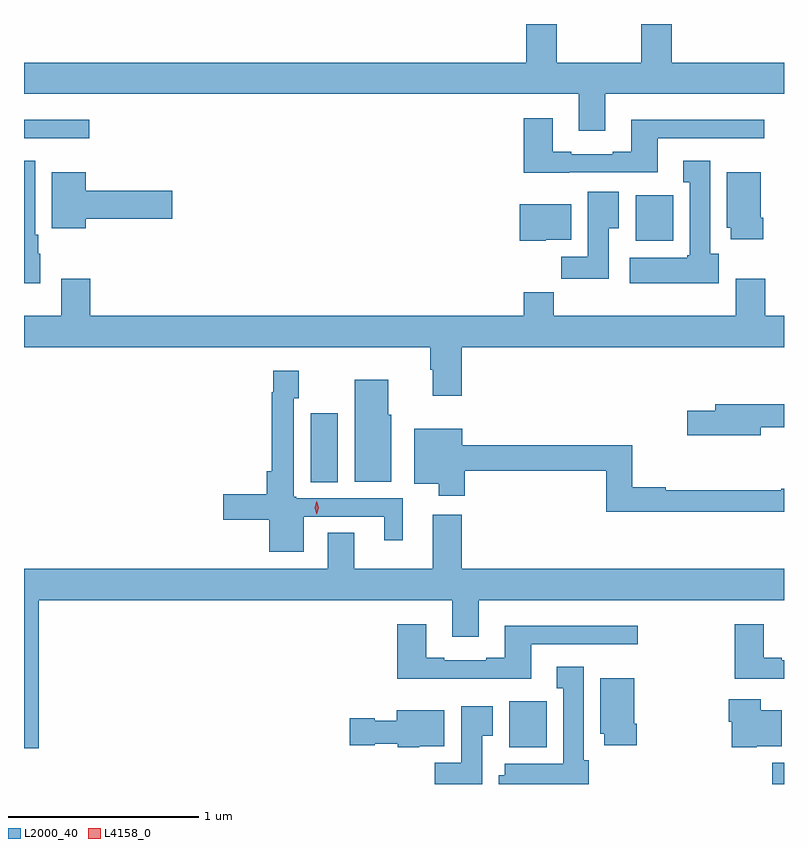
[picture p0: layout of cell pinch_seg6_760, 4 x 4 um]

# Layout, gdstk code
import gdstk
lib = gdstk.Library(unit=1e-6, precision=1e-09)
def R(c, l, rs):  # rectangles x0, y0, x1, y1
    for r in rs: c.add(gdstk.rectangle(r[:2], r[2:], *l))
def P(c, l, *ps):  # polygons
    for p in ps: c.add(gdstk.Polygon(p, *l))
L2000_40 = (2000, 40)
L4158_0 = (4158, 0)

pinch_seg6_760 = lib.new_cell('pinch_seg6_760')
R(pinch_seg6_760, L2000_40, [(315.856,955.692,315.918,955.804), (314.471,955.886,314.668,956.128), (313.427,957.28,313.57,957.643), (315.137,958.55,315.334,958.792), (311.918,959.091,312.262,959.188)])
P(pinch_seg6_760, L2000_40, [(315.918,959.488),(315.326,959.488),(315.326,959.692),(315.166,959.692),(315.166,959.488),(314.721,959.488),(314.721,959.692),(314.561,959.692),(314.561,959.488),(311.918,959.488),(311.918,959.324),(314.837,959.324),(314.837,959.13),(314.977,959.13),(314.977,959.324),(315.918,959.324)],
  [(314.789,958.911),(315.253,958.911),(315.253,959.091),(315.814,959.091),(315.814,959.188),(315.113,959.188),(315.113,959.02),(315.017,959.02),(315.017,959.007),(314.797,959.007),(314.797,959.02),(314.701,959.02),(314.701,959.197),(314.549,959.197),(314.549,958.91),(314.789,958.91)],
  [(315.574,958.482),(315.529,958.482),(315.529,958.972),(315.389,958.972),(315.389,958.859),(315.422,958.859),(315.422,958.476),(315.409,958.476),(315.409,958.462),(315.105,958.462),(315.105,958.328),(315.574,958.328)],
  [(312.004,958.482),(311.992,958.482),(311.992,958.582),(311.977,958.582),(311.977,958.972),(311.918,958.972),(311.918,958.328),(312.004,958.328)],
  [(312.244,958.667),(312.697,958.667),(312.697,958.814),(312.244,958.814),(312.244,958.912),(312.065,958.912),(312.065,958.616),(312.244,958.616)],
  [(315.809,958.672),(315.796,958.672),(315.796,958.912),(315.617,958.912),(315.617,958.62),(315.638,958.62),(315.638,958.56),(315.809,958.56)],
  [(314.995,958.616),(315.049,958.616),(315.049,958.81),(314.885,958.81),(314.885,958.468),(314.746,958.468),(314.746,958.35),(314.995,958.35)],
  [(314.664,958.556),(314.797,958.556),(314.797,958.744),(314.528,958.744),(314.528,958.55),(314.664,958.55)],
  [(314.222,957.992),(315.918,957.992),(315.918,958.156),(315.818,958.156),(315.818,958.351),(315.665,958.351),(315.665,958.156),(314.705,958.156),(314.705,958.28),(314.549,958.28),(314.549,958.156),(312.266,958.156),(312.266,958.351),(312.113,958.351),(312.113,958.156),(311.918,958.156),(311.918,957.992),(314.057,957.992),(314.057,957.872),(314.069,957.872),(314.069,957.735),(314.222,957.735)],
  [(313.39,957.099),(313.814,957.099),(313.814,956.976),(313.912,956.976),(313.912,957.195),(313.35,957.195),(313.35,957.205),(313.338,957.205),(313.338,957.723),(313.365,957.723),(313.365,957.868),(313.23,957.868),(313.23,957.755),(313.222,957.755),(313.222,957.337),(313.196,957.337),(313.196,957.218),(312.966,957.218),(312.966,957.083),(313.208,957.083),(313.208,956.915),(313.39,956.915)],
  [(313.852,957.636),(313.834,957.636),(313.834,957.82),(313.658,957.82),(313.658,957.284),(313.852,957.284)],
  [(315.796,957.57),(315.918,957.57),(315.918,957.691),(315.557,957.691),(315.557,957.657),(315.408,957.657),(315.408,957.527),(315.796,957.527)],
  [(315.918,957.247),(315.904,957.247),(315.904,957.239),(315.296,957.239),(315.296,957.254),(315.119,957.254),(315.119,957.476),(314.224,957.476),(314.224,957.562),(313.973,957.562),(313.973,957.272),(314.102,957.272),(314.102,957.21),(314.237,957.21),(314.237,957.34),(314.983,957.34),(314.983,957.126),(315.918,957.126)],
  [(311.996,956.66),(314.171,956.66),(314.171,956.466),(314.311,956.466),(314.311,956.66),(315.918,956.66),(315.918,956.824),(314.222,956.824),(314.222,957.109),(314.069,957.109),(314.069,956.824),(313.657,956.824),(313.657,957.014),(313.517,957.014),(313.517,956.824),(311.918,956.824),(311.918,955.881),(311.996,955.881)],
  [(314.587,956.427),(315.148,956.427),(315.148,956.524),(314.447,956.524),(314.447,956.356),(314.351,956.356),(314.351,956.343),(314.131,956.343),(314.131,956.356),(314.035,956.356),(314.035,956.533),(313.883,956.533),(313.883,956.246),(314.587,956.246)],
  [(315.918,956.343),(315.907,956.343),(315.907,956.356),(315.811,956.356),(315.811,956.533),(315.659,956.533),(315.659,956.246),(315.918,956.246)],
  [(314.89,955.818),(314.863,955.818),(314.863,956.308),(314.723,956.308),(314.723,956.195),(314.756,956.195),(314.756,955.798),(314.447,955.798),(314.447,955.739),(314.417,955.739),(314.417,955.692),(314.89,955.692)],
  [(315.143,956.008),(315.13,956.008),(315.13,956.248),(314.951,956.248),(314.951,955.956),(314.972,955.956),(314.972,955.896),(315.143,955.896)],
  [(315.774,955.892),(315.907,955.892),(315.907,956.08),(315.796,956.08),(315.796,956.137),(315.626,956.137),(315.626,956.019),(315.644,956.019),(315.644,955.886),(315.774,955.886)],
  [(314.329,955.945),(314.386,955.945),(314.386,956.101),(314.219,956.101),(314.219,955.804),(314.08,955.804),(314.08,955.692),(314.329,955.692)],
  [(313.998,955.892),(314.131,955.892),(314.131,956.08),(313.88,956.08),(313.88,956.026),(313.764,956.026),(313.764,956.039),(313.632,956.039),(313.632,955.897),(313.764,955.897),(313.764,955.904),(313.884,955.904),(313.884,955.886),(313.998,955.886)])
P(pinch_seg6_760, L4158_0, [(313.458,957.111),(313.458,957.111),(313.448,957.145),(313.458,957.18),(313.458,957.18),(313.458,957.18),(313.468,957.146),(313.459,957.111)])

lib.write_gds('pinch_seg6_760.gds')
